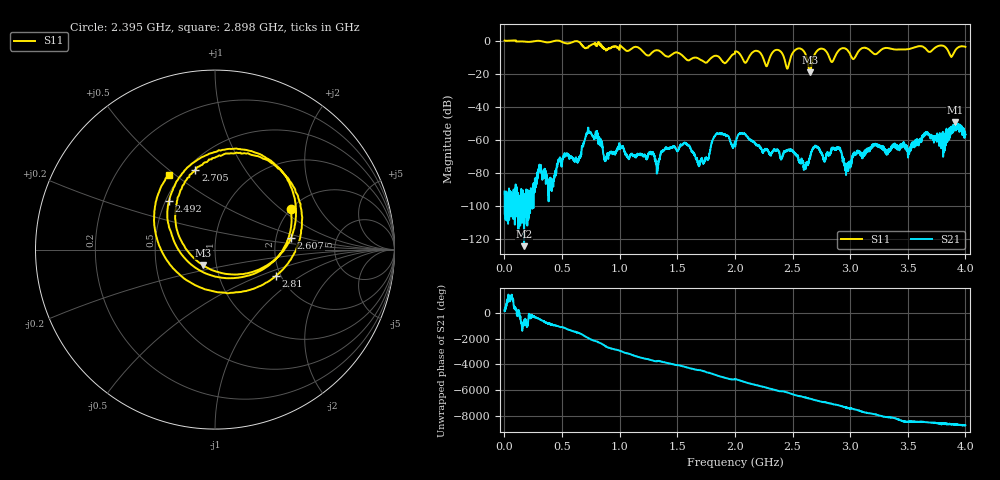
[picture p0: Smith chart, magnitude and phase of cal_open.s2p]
!Created with skrf (http://scikit-rf.org).
# GHz S RI R 50.0
!freq ReS11 ImS11 ReS21 ImS21 ReS12 ImS12 ReS22 ImS22
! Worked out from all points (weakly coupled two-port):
!   4000 points, 1 MHz to 4 GHz, reference 50 ohm
!   highest |S21| = -49.13 dB at 3.912 GHz (marker M1); lowest = -124.1 dB at 170 MHz (marker M2)
!   lowest |S11| = -19.2 dB at 2.651 GHz (marker M3), VSWR 1.25, Z = 43.2 - j7.72 ohm
!   |S11| at or under -10 dB: 1.559 GHz to 1.801 GHz (241.7 MHz wide, 14.4 % of centre); 1.864 GHz to 1.96 GHz (96.25 MHz wide, 5.03 % of centre); 2.242 GHz to 2.304 GHz (62.13 MHz wide, 2.73 % of centre) (the widest 3 of 8)
!   S12 and S22 are empty: the file has one direction only
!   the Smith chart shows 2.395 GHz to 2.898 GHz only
!   S11 on the Smith chart (normalised r, x): 2.395 GHz: 1.99, +1.18; 2.492 GHz: 0.52, +0.33; 2.607 GHz: 2.43, +0.39; 2.705 GHz: 0.55, +0.62; 2.81 GHz: 1.89, -0.64; 2.898 GHz: 0.43, +0.47
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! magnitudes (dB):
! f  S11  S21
! 1 MHz  0.1  -91.0
! 170 MHz  -0.5  -124.1
! 668 MHz  -2.3  -67.5
! 733 MHz  -3.2  -55.3
! 880 MHz  -5.9  -71.3
! 1.334 GHz  -5.8  -75.0
! 1.565 GHz  -10.4  -61.6
! 1.736 GHz  -13.0  -73.2
! 1.852 GHz  -9.4  -56.4
! 2.001 GHz  -6.5  -63.7
! 2.395 GHz  -6.4  -70.9
! 2.492 GHz  -8.6  -66.2
! 2.607 GHz  -7.3  -75.4
! 2.651 GHz  -19.2  -70.7
! 2.667 GHz  -13.7  -66.7
! 2.705 GHz  -6.8  -63.8
! 2.81 GHz  -8.6  -68.1
! 2.898 GHz  -6.2  -64.5
! 2.967 GHz  -5.1  -77.4
! 3.334 GHz  -4.5  -67.4
! 3.912 GHz  -5.8  -49.1
! 4 GHz  -3.7  -56.6
